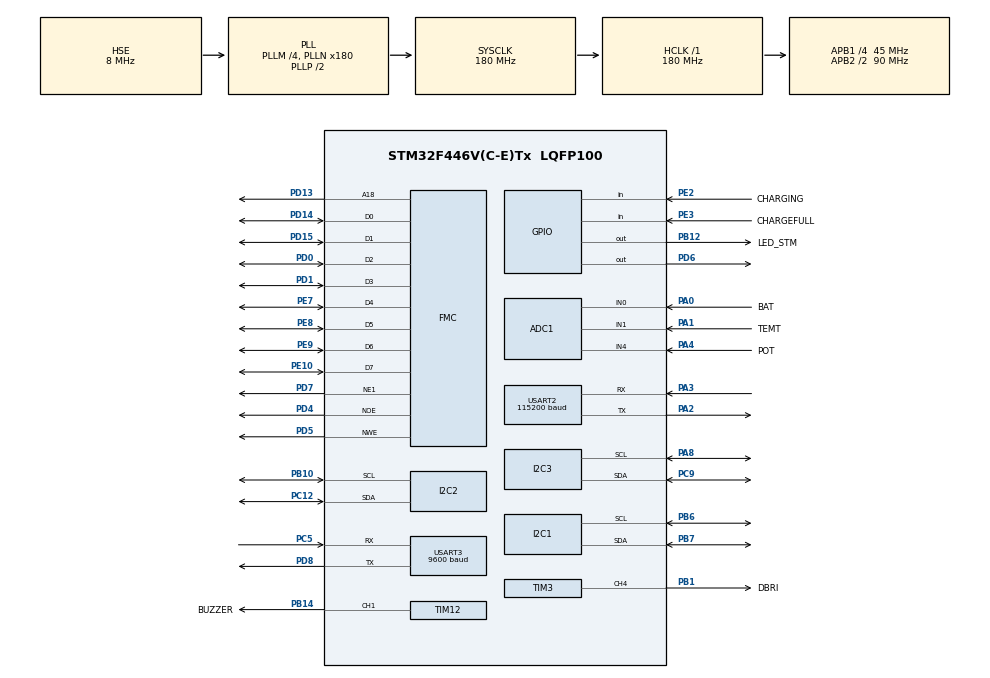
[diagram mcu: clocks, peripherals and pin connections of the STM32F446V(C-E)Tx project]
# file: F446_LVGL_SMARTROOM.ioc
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ADC1.Channel-1\#ChannelRegularConversion=ADC_CHANNEL_0
ADC1.Channel-2\#ChannelRegularConversion=ADC_CHANNEL_1
ADC1.Channel-3\#ChannelRegularConversion=ADC_CHANNEL_4
ADC1.ContinuousConvMode=ENABLE
ADC1.DMAContinuousRequests=ENABLE
ADC1.InjNumberOfConversion=0
ADC1.NbrOfConversion=3
ADC1.NbrOfConversionFlag=1
ADC1.Rank-1\#ChannelRegularConversion=1
ADC1.Rank-2\#ChannelRegularConversion=2
ADC1.Rank-3\#ChannelRegularConversion=3
ADC1.SamplingTime-1\#ChannelRegularConversion=ADC_SAMPLETIME_3CYCLES
ADC1.SamplingTime-2\#ChannelRegularConversion=ADC_SAMPLETIME_3CYCLES
ADC1.SamplingTime-3\#ChannelRegularConversion=ADC_SAMPLETIME_3CYCLES
ADC1.ScanConvMode=ENABLE
ADC1.master=1
Dma.ADC1.0.Direction=DMA_PERIPH_TO_MEMORY
Dma.ADC1.0.FIFOMode=DMA_FIFOMODE_DISABLE
Dma.ADC1.0.Instance=DMA2_Stream0
Dma.ADC1.0.MemDataAlignment=DMA_MDATAALIGN_HALFWORD
Dma.ADC1.0.MemInc=DMA_MINC_ENABLE
Dma.ADC1.0.Mode=DMA_CIRCULAR
Dma.ADC1.0.PeriphDataAlignment=DMA_PDATAALIGN_HALFWORD
Dma.ADC1.0.PeriphInc=DMA_PINC_DISABLE
Dma.ADC1.0.Priority=DMA_PRIORITY_LOW
Dma.Request0=ADC1
Dma.Request1=USART2_RX
Dma.USART2_RX.1.Direction=DMA_PERIPH_TO_MEMORY
Dma.USART2_RX.1.FIFOMode=DMA_FIFOMODE_DISABLE
Dma.USART2_RX.1.Instance=DMA1_Stream5
Dma.USART2_RX.1.MemDataAlignment=DMA_MDATAALIGN_BYTE
Dma.USART2_RX.1.MemInc=DMA_MINC_ENABLE
Dma.USART2_RX.1.Mode=DMA_CIRCULAR
Dma.USART2_RX.1.PeriphDataAlignment=DMA_PDATAALIGN_BYTE
Dma.USART2_RX.1.PeriphInc=DMA_PINC_DISABLE
Dma.USART2_RX.1.Priority=DMA_PRIORITY_MEDIUM
FMC.AddressSetupTime1=2
FMC.BusTurnAroundDuration1=15
FMC.DataSetupTime1=15
FMC.ExtendedAddressSetupTime1=2
FMC.ExtendedBusTurnAroundDuration1=3
FMC.ExtendedDataSetupTime1=3
FMC.ExtendedMode1=FMC_EXTENDED_MODE_ENABLE
Mcu.Family=STM32F4
Mcu.Name=STM32F446V(C-E)Tx
Mcu.Package=LQFP100
NVIC.DMA1_Stream5_IRQn=true\:0\:0\:false\:false\:true\:false\:true\:true
NVIC.DMA2_Stream0_IRQn=true\:0\:0\:false\:false\:true\:false\:true\:true
NVIC.PriorityGroup=NVIC_PRIORITYGROUP_4
NVIC.USART3_IRQn=true\:0\:0\:false\:false\:true\:true\:true\:true
PA0-WKUP.GPIO_Label=BAT
PA0-WKUP.Signal=ADCx_IN0
PA1.GPIO_Label=TEMT
PA1.Signal=ADCx_IN1
PA13.Mode=Serial_Wire
PA13.Signal=SYS_JTMS-SWDIO
PA14.Mode=Serial_Wire
PA14.Signal=SYS_JTCK-SWCLK
PA2.Mode=Asynchronous
PA2.Signal=USART2_TX
PA3.Mode=Asynchronous
PA3.Signal=USART2_RX
PA4.GPIO_Label=POT
PA4.Signal=ADCx_IN4
PA8.Mode=I2C
PA8.Signal=I2C3_SCL
PB1.GPIO_Label=DBRI
PB1.Signal=S_TIM3_CH4
PB10.Mode=I2C
PB10.Signal=I2C2_SCL
PB12.GPIO_Label=LED_STM
PB12.Signal=GPIO_Output
PB14.GPIO_Label=BUZZER
PB14.Signal=S_TIM12_CH1
PB6.Mode=I2C
PB6.Signal=I2C1_SCL
PB7.Mode=I2C
PB7.Signal=I2C1_SDA
PC12.Mode=I2C
PC12.Signal=I2C2_SDA
PC5.Mode=Asynchronous
PC5.Signal=USART3_RX
PC9.Mode=I2C
PC9.Signal=I2C3_SDA
PD0.Mode=8b-d1
PD0.Signal=FMC_D2
PD1.Mode=8b-d1
PD1.Signal=FMC_D3
PD13.Mode=A18_1
PD13.Signal=FMC_A18
PD14.Mode=8b-d1
PD14.Signal=FMC_D0
PD15.Mode=8b-d1
PD15.Signal=FMC_D1
PD4.Mode=Lcd1
PD4.Signal=FMC_NOE
PD5.Mode=Lcd1
PD5.Signal=FMC_NWE
PD6.Signal=GPIO_Output
PD7.Mode=NorPsramChipSelect1_1
PD7.Signal=FMC_NE1
PD8.Mode=Asynchronous
PD8.Signal=USART3_TX
PE10.Mode=8b-d1
PE10.Signal=FMC_D7
PE2.GPIO_Label=CHARGING
PE2.GPIO_PuPd=GPIO_PULLUP
PE2.Signal=GPIO_Input
PE3.GPIO_Label=CHARGEFULL
PE3.GPIO_PuPd=GPIO_PULLUP
PE3.Signal=GPIO_Input
PE7.Mode=8b-d1
PE7.Signal=FMC_D4
PE8.Mode=8b-d1
PE8.Signal=FMC_D5
PE9.Mode=8b-d1
PE9.Signal=FMC_D6
PH0-OSC_IN.Mode=HSE-External-Oscillator
PH0-OSC_IN.Signal=RCC_OSC_IN
PH1-OSC_OUT.Mode=HSE-External-Oscillator
PH1-OSC_OUT.Signal=RCC_OSC_OUT
ProjectManager.HeapSize=0x200
ProjectManager.StackSize=0x400
ProjectManager.TargetToolchain=STM32CubeIDE
RCC.AHBFreq_Value=180000000
RCC.APB1CLKDivider=RCC_HCLK_DIV4
RCC.APB1Freq_Value=45000000
RCC.APB1TimFreq_Value=90000000
RCC.APB2CLKDivider=RCC_HCLK_DIV2
RCC.APB2Freq_Value=90000000
RCC.APB2TimFreq_Value=180000000
RCC.CortexFreq_Value=180000000
RCC.HCLKFreq_Value=180000000
RCC.HSE_VALUE=8000000
RCC.PLLM=4
RCC.PLLN=180
RCC.PLLSourceVirtual=RCC_PLLSOURCE_HSE
RCC.SYSCLKFreq_VALUE=180000000
RCC.SYSCLKSource=RCC_SYSCLKSOURCE_PLLCLK
RCC.USBFreq_Value=180000000
RCC.VCOOutputFreq_Value=360000000
SH.ADCx_IN0.0=ADC1_IN0,IN0
SH.ADCx_IN1.0=ADC1_IN1,IN1
SH.ADCx_IN4.0=ADC1_IN4,IN4
SH.S_TIM12_CH1.0=TIM12_CH1,PWM Generation1 CH1
SH.S_TIM3_CH4.0=TIM3_CH4,PWM Generation4 CH4
TIM12.Channel-PWM\ Generation1\ CH1=TIM_CHANNEL_1
TIM3.Channel-PWM\ Generation4\ CH4=TIM_CHANNEL_4
TIM3.Period=100-1
TIM3.Prescaler=9000
USART2.BaudRate=115200
USART2.VirtualMode=VM_ASYNC
USART3.BaudRate=9600
USART3.VirtualMode=VM_ASYNC
VP_TIM8_VS_ClockSourceINT.Mode=Internal
board=custom

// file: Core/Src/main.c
/* USER CODE BEGIN Header */
/**
 ******************************************************************************
 * @file           : main.c
 * @brief          : Main program body
 ******************************************************************************
 * @attention
 *
 * Copyright (c) 2023 STMicroelectronics.
 * All rights reserved.
 *
 * This software is licensed under terms that can be found in the LICENSE file
 * in the root directory of this software component.
 * If no LICENSE file comes with this software, it is provided AS-IS.
 *
 ******************************************************************************
 */
/* USER CODE END Header */
#include "../Core/Inc/main.h"
#include "../Core/lvgl/lv_port_indev.h"
#include "../Core/lvgl/lvgl.h"
#include "../Core/menu/Inc/lvgl_menu.h"
#include "../Core/peripherals/Inc/adc.h"
#include "../Core/peripherals/Inc/aht10.h"
#include "../Core/peripherals/Inc/dfplayer_mini.h"
#include "../Core/peripherals/Inc/esp.h"
#include "../Core/peripherals/Inc/ili9486.h"
#include "../Core/peripherals/Inc/led.h"
#include "../Core/peripherals/Inc/sgp30.h"
#include "../Core/peripherals/Inc/vl53l0x.h"
/* USER CODE END Includes */

ADC_HandleTypeDef hadc1;
DMA_HandleTypeDef hdma_adc1;

I2C_HandleTypeDef hi2c1;
I2C_HandleTypeDef hi2c2;
I2C_HandleTypeDef hi2c3;

TIM_HandleTypeDef htim3;
TIM_HandleTypeDef htim8;
TIM_HandleTypeDef htim12;

UART_HandleTypeDef huart2;
UART_HandleTypeDef huart3;
DMA_HandleTypeDef hdma_usart2_rx;

SRAM_HandleTypeDef hsram1;

/* USER CODE BEGIN PV */
VL53L0X sensor1; //Struct in "VL53L0X.h"
extern volatile uint16_t adc_data[];
extern espPacket_ espPacket;
extern uint8_t rxBuffer[sizeof(espPacket)];

/* USER CODE END PV */

void SystemClock_Config(void);
static void MX_GPIO_Init(void);
static void MX_DMA_Init(void);
static void MX_ADC1_Init(void);
static void MX_FMC_Init(void);
static void MX_I2C1_Init(void);
static void MX_I2C2_Init(void);
static void MX_TIM3_Init(void);
static void MX_TIM12_Init(void);
static void MX_USART2_UART_Init(void);
static void MX_I2C3_Init(void);
static void MX_TIM8_Init(void);
static void MX_USART3_UART_Init(void);

/* USER CODE BEGIN 0 */

static void tft_flush(lv_disp_drv_t *disp_drv, const lv_area_t *area, lv_color_t *color_p) {
	ILI9486_SetCursorPosition(area->x1, area->y1, area->x2, area->y2);
	pushColors((uint16_t*) color_p, (area->x2 - area->x1 + 1) * (area->y2 - area->y1 + 1), true);
	lv_disp_flush_ready(disp_drv);
}

static lv_disp_draw_buf_t draw_buf_dsc_1;
static lv_color_t buf_1[MY_DISP_HOR_RES * 10]; /*A buffer for 10 rows*/ //10

/* USER CODE END 0 */

int main(void) {

	/* MCU Configuration--------------------------------------------------------*/

	/* Reset of all peripherals, Initializes the Flash interface and the Systick. */
	HAL_Init();

	/* Configure the system clock */
	SystemClock_Config();

	/* Initialize all configured peripherals */
	MX_GPIO_Init();
	MX_DMA_Init();
	MX_ADC1_Init();
	MX_FMC_Init();
	MX_I2C1_Init();
	MX_I2C2_Init();
	MX_TIM3_Init();
	MX_TIM12_Init();
	MX_USART2_UART_Init();
	MX_I2C3_Init();
	MX_TIM8_Init();
	MX_USART3_UART_Init();
	/* USER CODE BEGIN 2 */
	toggle_led();
	HAL_Delay(300);
	HAL_UART_Receive_DMA(&huart2, rxBuffer, sizeof(espPacket)); /*Initialization UART2 peripheral with DMA for ESP32 data*/
	HAL_TIM_PWM_Start(&htim12, TIM_CHANNEL_1); /*Initialization PWM TIM12 CH1 peripheral for Buzzer*/
	HAL_TIM_PWM_Start(&htim3, TIM_CHANNEL_4); /*Initialization PWM TIM3 CH4 peripheral for display brightness*/
	toggle_led();
	HAL_Delay(300);
	ILI9486_Init();
	//DF_Init(15); //0-30
	toggle_led();
	HAL_Delay(300);
	ILI9486_Init();
	//DFPlayer_playFolder_(2, 14);
	//HAL_Delay(1300);
	sgp30_init();
	toggle_led();
	aht10_init();
	toggle_led();
	InitVL53();
	startContinuous(&sensor1, 5); //Second parameter: x ms wait
	toggle_led();
	//DFPlayer_playFolder_(2, 15);
	lv_init();
	lv_disp_draw_buf_init(&draw_buf_dsc_1, buf_1, NULL, MY_DISP_HOR_RES * 10); //Initialize the display buffer//10
	lv_disp_drv_t disp_drv; //Descriptor of a display driver//
	lv_disp_drv_init(&disp_drv); //Basic initialization//
	disp_drv.hor_res = MY_DISP_HOR_RES;
	disp_drv.ver_res = MY_DISP_VER_RES;
	disp_drv.flush_cb = tft_flush;
	disp_drv.draw_buf = &draw_buf_dsc_1;
	lv_disp_drv_register(&disp_drv);
	//lv_port_indev_init();
	HAL_Delay(25);
	init_lv_objects();
	toggle_led();
	ILI9486_SetBrightness(100);
	turn_led_off();
	HAL_Delay(300);
	//beep();
	/* USER CODE END 2 */

	/* Infinite loop */
	/* USER CODE BEGIN WHILE */
	while (1) {
		lv_task_handler();
		HAL_ADC_Start_DMA(&hadc1, (uint16_t*) &adc_data, NUMBER_OF_ADC_CHANNELS); /*start ADC converter with DMA, 0-BAT,1-TEMT,3-POTI*/
		HAL_Delay(5);
		HAL_ADC_Stop_DMA(&hadc1);
		/* USER CODE END WHILE */

	}
}

void SystemClock_Config(void) {
	RCC_OscInitTypeDef RCC_OscInitStruct = { 0 };
	RCC_ClkInitTypeDef RCC_ClkInitStruct = { 0 };

	/** Configure the main internal regulator output voltage
	 */
	__HAL_RCC_PWR_CLK_ENABLE();
	__HAL_PWR_VOLTAGESCALING_CONFIG(PWR_REGULATOR_VOLTAGE_SCALE1);

	/** Initializes the RCC Oscillators according to the specified parameters
	 * in the RCC_OscInitTypeDef structure.
	 */
	RCC_OscInitStruct.OscillatorType = RCC_OSCILLATORTYPE_HSE;
	RCC_OscInitStruct.HSEState = RCC_HSE_ON;
	RCC_OscInitStruct.PLL.PLLState = RCC_PLL_ON;
	RCC_OscInitStruct.PLL.PLLSource = RCC_PLLSOURCE_HSE;
	RCC_OscInitStruct.PLL.PLLM = 4;
	RCC_OscInitStruct.PLL.PLLN = 180;
	RCC_OscInitStruct.PLL.PLLP = RCC_PLLP_DIV2;
	RCC_OscInitStruct.PLL.PLLQ = 2;
	RCC_OscInitStruct.PLL.PLLR = 2;
	if (HAL_RCC_OscConfig(&RCC_OscInitStruct) != HAL_OK) {
		Error_Handler();
	}

	/** Activate the Over-Drive mode
	 */
	if (HAL_PWREx_EnableOverDrive() != HAL_OK) {
		Error_Handler();
	}

	/** Initializes the CPU, AHB and APB buses clocks
	 */
	RCC_ClkInitStruct.ClockType = RCC_CLOCKTYPE_HCLK | RCC_CLOCKTYPE_SYSCLK | RCC_CLOCKTYPE_PCLK1 | RCC_CLOCKTYPE_PCLK2;
	RCC_ClkInitStruct.SYSCLKSource = RCC_SYSCLKSOURCE_PLLCLK;
	RCC_ClkInitStruct.AHBCLKDivider = RCC_SYSCLK_DIV1;
	RCC_ClkInitStruct.APB1CLKDivider = RCC_HCLK_DIV4;
	RCC_ClkInitStruct.APB2CLKDivider = RCC_HCLK_DIV2;

	if (HAL_RCC_ClockConfig(&RCC_ClkInitStruct, FLASH_LATENCY_5) != HAL_OK) {
		Error_Handler();
	}
}

static void MX_ADC1_Init(void) {

	ADC_ChannelConfTypeDef sConfig = { 0 };

	/** Configure the global features of the ADC (Clock, Resolution, Data Alignment and number of conversion)
	 */
	hadc1.Instance = ADC1;
	hadc1.Init.ClockPrescaler = ADC_CLOCK_SYNC_PCLK_DIV4;
	hadc1.Init.Resolution = ADC_RESOLUTION_12B;
	hadc1.Init.ScanConvMode = ENABLE;
	hadc1.Init.ContinuousConvMode = ENABLE;
	hadc1.Init.DiscontinuousConvMode = DISABLE;
	hadc1.Init.ExternalTrigConvEdge = ADC_EXTERNALTRIGCONVEDGE_NONE;
	hadc1.Init.ExternalTrigConv = ADC_SOFTWARE_START;
	hadc1.Init.DataAlign = ADC_DATAALIGN_RIGHT;
	hadc1.Init.NbrOfConversion = 3;
	hadc1.Init.DMAContinuousRequests = ENABLE;
	hadc1.Init.EOCSelection = ADC_EOC_SINGLE_CONV;
	if (HAL_ADC_Init(&hadc1) != HAL_OK) {
		Error_Handler();
	}

	/** Configure for the selected ADC regular channel its corresponding rank in the sequencer and its sample time.
	 */
	sConfig.Channel = ADC_CHANNEL_0;
	sConfig.Rank = 1;
	sConfig.SamplingTime = ADC_SAMPLETIME_3CYCLES;
	if (HAL_ADC_ConfigChannel(&hadc1, &sConfig) != HAL_OK) {
		Error_Handler();
	}

	/** Configure for the selected ADC regular channel its corresponding rank in the sequencer and its sample time.
	 */
	sConfig.Channel = ADC_CHANNEL_1;
	sConfig.Rank = 2;
	if (HAL_ADC_ConfigChannel(&hadc1, &sConfig) != HAL_OK) {
		Error_Handler();
	}

	/** Configure for the selected ADC regular channel its corresponding rank in the sequencer and its sample time.
	 */
	sConfig.Channel = ADC_CHANNEL_4;
	sConfig.Rank = 3;
	if (HAL_ADC_ConfigChannel(&hadc1, &sConfig) != HAL_OK) {
		Error_Handler();
	}

}

static void MX_I2C1_Init(void) {

	hi2c1.Instance = I2C1;
	hi2c1.Init.ClockSpeed = 100000;
	hi2c1.Init.DutyCycle = I2C_DUTYCYCLE_2;
	hi2c1.Init.OwnAddress1 = 0;
	hi2c1.Init.AddressingMode = I2C_ADDRESSINGMODE_7BIT;
	hi2c1.Init.DualAddressMode = I2C_DUALADDRESS_DISABLE;
	hi2c1.Init.OwnAddress2 = 0;
	hi2c1.Init.GeneralCallMode = I2C_GENERALCALL_DISABLE;
	hi2c1.Init.NoStretchMode = I2C_NOSTRETCH_DISABLE;
	if (HAL_I2C_Init(&hi2c1) != HAL_OK) {
		Error_Handler();
	}

}

static void MX_I2C2_Init(void) {

	hi2c2.Instance = I2C2;
	hi2c2.Init.ClockSpeed = 100000;
	hi2c2.Init.DutyCycle = I2C_DUTYCYCLE_2;
	hi2c2.Init.OwnAddress1 = 0;
	hi2c2.Init.AddressingMode = I2C_ADDRESSINGMODE_7BIT;
	hi2c2.Init.DualAddressMode = I2C_DUALADDRESS_DISABLE;
	hi2c2.Init.OwnAddress2 = 0;
	hi2c2.Init.GeneralCallMode = I2C_GENERALCALL_DISABLE;
	hi2c2.Init.NoStretchMode = I2C_NOSTRETCH_DISABLE;
	if (HAL_I2C_Init(&hi2c2) != HAL_OK) {
		Error_Handler();
	}

}

static void MX_I2C3_Init(void) {

	hi2c3.Instance = I2C3;
	hi2c3.Init.ClockSpeed = 100000;
	hi2c3.Init.DutyCycle = I2C_DUTYCYCLE_2;
	hi2c3.Init.OwnAddress1 = 0;
	hi2c3.Init.AddressingMode = I2C_ADDRESSINGMODE_7BIT;
	hi2c3.Init.DualAddressMode = I2C_DUALADDRESS_DISABLE;
	hi2c3.Init.OwnAddress2 = 0;
	hi2c3.Init.GeneralCallMode = I2C_GENERALCALL_DISABLE;
	hi2c3.Init.NoStretchMode = I2C_NOSTRETCH_DISABLE;
	if (HAL_I2C_Init(&hi2c3) != HAL_OK) {
		Error_Handler();
	}

}

static void MX_TIM3_Init(void) {

	TIM_MasterConfigTypeDef sMasterConfig = { 0 };
	TIM_OC_InitTypeDef sConfigOC = { 0 };

	htim3.Instance = TIM3;
	htim3.Init.Prescaler = 0;
	htim3.Init.CounterMode = TIM_COUNTERMODE_UP;
	htim3.Init.Period = 65535;
	htim3.Init.ClockDivision = TIM_CLOCKDIVISION_DIV1;
	htim3.Init.AutoReloadPreload = TIM_AUTORELOAD_PRELOAD_DISABLE;
	if (HAL_TIM_PWM_Init(&htim3) != HAL_OK) {
		Error_Handler();
	}
	sMasterConfig.MasterOutputTrigger = TIM_TRGO_RESET;
	sMasterConfig.MasterSlaveMode = TIM_MASTERSLAVEMODE_DISABLE;
	if (HAL_TIMEx_MasterConfigSynchronization(&htim3, &sMasterConfig) != HAL_OK) {
		Error_Handler();
	}
	sConfigOC.OCMode = TIM_OCMODE_PWM1;
	sConfigOC.Pulse = 0;
	sConfigOC.OCPolarity = TIM_OCPOLARITY_HIGH;
	sConfigOC.OCFastMode = TIM_OCFAST_DISABLE;
	if (HAL_TIM_PWM_ConfigChannel(&htim3, &sConfigOC, TIM_CHANNEL_4) != HAL_OK) {
		Error_Handler();
	}
	HAL_TIM_MspPostInit(&htim3);

}

static void MX_TIM8_Init(void) {

	TIM_ClockConfigTypeDef sClockSourceConfig = { 0 };
	TIM_MasterConfigTypeDef sMasterConfig = { 0 };

	htim8.Instance = TIM8;
	htim8.Init.Prescaler = 0;
	htim8.Init.CounterMode = TIM_COUNTERMODE_UP;
	htim8.Init.Period = 65535;
	htim8.Init.ClockDivision = TIM_CLOCKDIVISION_DIV1;
	htim8.Init.RepetitionCounter = 0;
	htim8.Init.AutoReloadPreload = TIM_AUTORELOAD_PRELOAD_DISABLE;
	if (HAL_TIM_Base_Init(&htim8) != HAL_OK) {
		Error_Handler();
	}
	sClockSourceConfig.ClockSource = TIM_CLOCKSOURCE_INTERNAL;
	if (HAL_TIM_ConfigClockSource(&htim8, &sClockSourceConfig) != HAL_OK) {
		Error_Handler();
	}
	sMasterConfig.MasterOutputTrigger = TIM_TRGO_RESET;
	sMasterConfig.MasterSlaveMode = TIM_MASTERSLAVEMODE_DISABLE;
	if (HAL_TIMEx_MasterConfigSynchronization(&htim8, &sMasterConfig) != HAL_OK) {
		Error_Handler();
	}

}

static void MX_TIM12_Init(void) {

	TIM_OC_InitTypeDef sConfigOC = { 0 };

	htim12.Instance = TIM12;
	htim12.Init.Prescaler = 0;
	htim12.Init.CounterMode = TIM_COUNTERMODE_UP;
	htim12.Init.Period = 65535;
	htim12.Init.ClockDivision = TIM_CLOCKDIVISION_DIV1;
	htim12.Init.AutoReloadPreload = TIM_AUTORELOAD_PRELOAD_DISABLE;
	if (HAL_TIM_PWM_Init(&htim12) != HAL_OK) {
		Error_Handler();
	}
	sConfigOC.OCMode = TIM_OCMODE_PWM1;
	sConfigOC.Pulse = 0;
	sConfigOC.OCPolarity = TIM_OCPOLARITY_HIGH;
	sConfigOC.OCFastMode = TIM_OCFAST_DISABLE;
	if (HAL_TIM_PWM_ConfigChannel(&htim12, &sConfigOC, TIM_CHANNEL_1) != HAL_OK) {
		Error_Handler();
	}
	HAL_TIM_MspPostInit(&htim12);

}

static void MX_USART2_UART_Init(void) {

	huart2.Instance = USART2;
	huart2.Init.BaudRate = 115200;
	huart2.Init.WordLength = UART_WORDLENGTH_8B;
	huart2.Init.StopBits = UART_STOPBITS_1;
	huart2.Init.Parity = UART_PARITY_NONE;
	huart2.Init.Mode = UART_MODE_TX_RX;
	huart2.Init.HwFlowCtl = UART_HWCONTROL_NONE;
	huart2.Init.OverSampling = UART_OVERSAMPLING_16;
	if (HAL_UART_Init(&huart2) != HAL_OK) {
		Error_Handler();
	}

}

static void MX_USART3_UART_Init(void) {

//	huart3.Instance = USART3;
//	huart3.Init.BaudRate = 9600;
//	huart3.Init.WordLength = UART_WORDLENGTH_8B;
//	huart3.Init.StopBits = UART_STOPBITS_1;
//	huart3.Init.Parity = UART_PARITY_NONE;
//	huart3.Init.Mode = UART_MODE_TX_RX;
//	huart3.Init.HwFlowCtl = UART_HWCONTROL_NONE;
//	huart3.Init.OverSampling = UART_OVERSAMPLING_16;
//	if (HAL_UART_Init(&huart3) != HAL_OK) {
//		Error_Handler();
//	}

}

static void MX_DMA_Init(void) {

	/* DMA controller clock enable */
	__HAL_RCC_DMA2_CLK_ENABLE();
	__HAL_RCC_DMA1_CLK_ENABLE();

	/* DMA interrupt init */
	/* DMA1_Stream5_IRQn interrupt configuration */
	HAL_NVIC_SetPriority(DMA1_Stream5_IRQn, 0, 0);
	HAL_NVIC_EnableIRQ(DMA1_Stream5_IRQn);
	/* DMA2_Stream0_IRQn interrupt configuration */
	HAL_NVIC_SetPriority(DMA2_Stream0_IRQn, 0, 0);
	HAL_NVIC_EnableIRQ(DMA2_Stream0_IRQn);

}

/* FMC initialization function */
static void MX_FMC_Init(void) {

	FMC_NORSRAM_TimingTypeDef Timing = { 0 };
	FMC_NORSRAM_TimingTypeDef ExtTiming = { 0 };

	/** Perform the SRAM1 memory initialization sequence
	 */
	hsram1.Instance = FMC_NORSRAM_DEVICE;
	hsram1.Extended = FMC_NORSRAM_EXTENDED_DEVICE;
	/* hsram1.Init */
	hsram1.Init.NSBank = FMC_NORSRAM_BANK1;
	hsram1.Init.DataAddressMux = FMC_DATA_ADDRESS_MUX_DISABLE;
	hsram1.Init.MemoryType = FMC_MEMORY_TYPE_SRAM;
	hsram1.Init.MemoryDataWidth = FMC_NORSRAM_MEM_BUS_WIDTH_8;
	hsram1.Init.BurstAccessMode = FMC_BURST_ACCESS_MODE_DISABLE;
	hsram1.Init.WaitSignalPolarity = FMC_WAIT_SIGNAL_POLARITY_LOW;
	hsram1.Init.WaitSignalActive = FMC_WAIT_TIMING_BEFORE_WS;
	hsram1.Init.WriteOperation = FMC_WRITE_OPERATION_ENABLE;
	hsram1.Init.WaitSignal = FMC_WAIT_SIGNAL_DISABLE;
	hsram1.Init.ExtendedMode = FMC_EXTENDED_MODE_ENABLE;
	hsram1.Init.AsynchronousWait = FMC_ASYNCHRONOUS_WAIT_DISABLE;
	hsram1.Init.WriteBurst = FMC_WRITE_BURST_DISABLE;
	hsram1.Init.ContinuousClock = FMC_CONTINUOUS_CLOCK_SYNC_ONLY;
	hsram1.Init.WriteFifo = FMC_WRITE_FIFO_ENABLE;
	hsram1.Init.PageSize = FMC_PAGE_SIZE_NONE;
	/* Timing */
	Timing.AddressSetupTime = 2;
	Timing.AddressHoldTime = 15;
	Timing.DataSetupTime = 15;
	Timing.BusTurnAroundDuration = 15;
	Timing.CLKDivision = 16;
	Timing.DataLatency = 17;
	Timing.AccessMode = FMC_ACCESS_MODE_A;
	/* ExtTiming */
	ExtTiming.AddressSetupTime = 2;
	ExtTiming.AddressHoldTime = 15;
	ExtTiming.DataSetupTime = 3;
	ExtTiming.BusTurnAroundDuration = 3;
	ExtTiming.CLKDivision = 16;
	ExtTiming.DataLatency = 17;
	ExtTiming.AccessMode = FMC_ACCESS_MODE_A;

	if (HAL_SRAM_Init(&hsram1, &Timing, &ExtTiming) != HAL_OK) {
		Error_Handler();
	}

}

static void MX_GPIO_Init(void) {
	GPIO_InitTypeDef GPIO_InitStruct = { 0 };

	/* GPIO Ports Clock Enable */
	__HAL_RCC_GPIOE_CLK_ENABLE();
	__HAL_RCC_GPIOH_CLK_ENABLE();
	__HAL_RCC_GPIOA_CLK_ENABLE();
	__HAL_RCC_GPIOC_CLK_ENABLE();
	__HAL_RCC_GPIOB_CLK_ENABLE();
	__HAL_RCC_GPIOD_CLK_ENABLE();

	/*Configure GPIO pin Output Level */
	HAL_GPIO_WritePin(LED_STM_GPIO_Port, LED_STM_Pin, GPIO_PIN_RESET);

	/*Configure GPIO pin Output Level */
	HAL_GPIO_WritePin(GPIOC, GPIO_PIN_5, GPIO_PIN_RESET);
	HAL_GPIO_WritePin(GPIOD, GPIO_PIN_6 | GPIO_PIN_8, GPIO_PIN_RESET);

	/*Configure GPIO pins : CHARGING_Pin CHARGEFULL_Pin */
	GPIO_InitStruct.Pin = CHARGING_Pin | CHARGEFULL_Pin;
	GPIO_InitStruct.Mode = GPIO_MODE_INPUT;
	GPIO_InitStruct.Pull = GPIO_PULLUP;
	HAL_GPIO_Init(GPIOE, &GPIO_InitStruct);

	/*Configure GPIO pin : LED_STM_Pin */
	GPIO_InitStruct.Pin = LED_STM_Pin;
	GPIO_InitStruct.Mode = GPIO_MODE_OUTPUT_PP;
	GPIO_InitStruct.Pull = GPIO_NOPULL;
	GPIO_InitStruct.Speed = GPIO_SPEED_FREQ_LOW;
	HAL_GPIO_Init(LED_STM_GPIO_Port, &GPIO_InitStruct);

	/*Configure GPIO pin : PD6 */
	GPIO_InitStruct.Pin = GPIO_PIN_6;
	GPIO_InitStruct.Mode = GPIO_MODE_OUTPUT_PP;
	GPIO_InitStruct.Pull = GPIO_NOPULL;
	GPIO_InitStruct.Speed = GPIO_SPEED_FREQ_LOW;
	HAL_GPIO_Init(GPIOD, &GPIO_InitStruct);

}

void Error_Handler(void) {
	__disable_irq();
	while (1) {
	}
}
